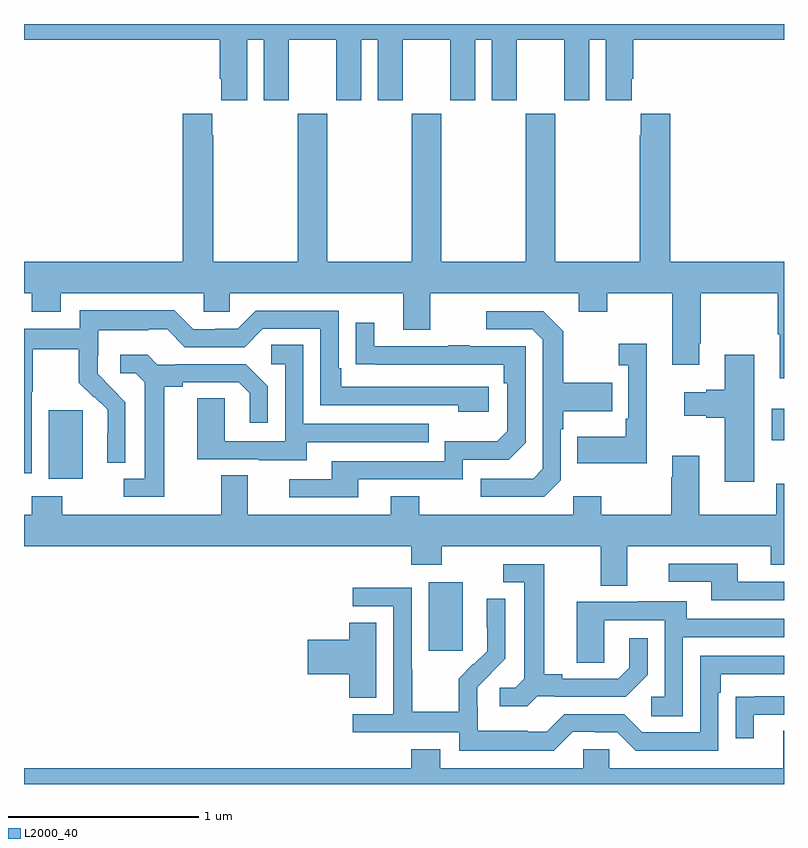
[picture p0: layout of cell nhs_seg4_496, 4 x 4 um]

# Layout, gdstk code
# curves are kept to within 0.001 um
import gdstk
lib = gdstk.Library(unit=1e-6, precision=1e-09)
def R(c, l, rs):  # rectangles x0, y0, x1, y1
    for r in rs: c.add(gdstk.rectangle(r[:2], r[2:], *l))
def P(c, l, *ps):  # polygons
    for p in ps: c.add(gdstk.Polygon(p, *l))
L2000_40 = (2000, 40)

nhs_seg4_496 = lib.new_cell('nhs_seg4_496')
R(nhs_seg4_496, L2000_40, [(137.129,797.601,137.308,797.962), (135.131,798.506,135.31,798.867), (138.936,798.71,139,798.874)])
P(nhs_seg4_496, L2000_40, [(136.174,800.816),(136.262,800.816),(136.262,800.499),(136.393,800.499),(136.393,800.816),(136.643,800.816),(136.643,800.499),(136.774,800.499),(136.774,800.816),(136.862,800.816),(136.862,800.499),(136.993,800.499),(136.993,800.816),(137.243,800.816),(137.243,800.499),(137.374,800.499),(137.374,800.816),(137.462,800.816),(137.462,800.499),(137.593,800.499),(137.593,800.816),(137.843,800.816),(137.843,800.499),(137.974,800.499),(137.974,800.816),(138.062,800.816),(138.062,800.499),(138.199,800.499),(138.199,800.611),(138.206,800.611),(138.206,800.816),(139,800.816),(139,800.9),(135,800.9),(135,800.816),(136.031,800.816),(136.031,800.611),(136.037,800.611),(136.037,800.499),(136.174,800.499)],
  [(136.441,800.428),(136.441,799.648),(135.996,799.648),(135.996,800.315),(135.991,800.315),(135.991,800.428),(135.836,800.428),(135.836,799.648),(135,799.648),(135,799.484),(135.041,799.484),(135.041,799.385),(135.193,799.385),(135.193,799.484),(135.945,799.484),(135.945,799.386),(136.083,799.386),(136.083,799.484),(136.997,799.484),(136.997,799.29),(137.137,799.29),(137.137,799.484),(137.921,799.484),(137.921,799.385),(138.069,799.385),(138.069,799.484),(138.413,799.484),(138.413,799.107),(138.553,799.107),(138.553,799.219),(138.561,799.219),(138.561,799.484),(138.967,799.484),(138.967,799.268),(138.977,799.268),(138.977,799.035),(139,799.035),(139,799.648),(138.401,799.648),(138.401,800.428),(138.245,800.428),(138.245,800.315),(138.241,800.315),(138.241,799.648),(137.796,799.648),(137.796,800.428),(137.641,800.428),(137.641,799.648),(137.196,799.648),(137.196,800.428),(137.041,800.428),(137.041,799.648),(136.596,799.648),(136.596,800.428)],
  [(135.042,798.964),(135.045,798.964),(135.045,799.188),(135.289,799.188),(135.289,799.013),(135.366,798.936),(135.369,798.939),(135.44,798.869),(135.44,798.746),(135.438,798.746),(135.438,798.592),(135.534,798.592),(135.534,798.91),(135.388,799.058),(135.388,799.155),(135.39,799.155),(135.39,799.289),(135.653,799.289),(135.653,799.293),(135.753,799.293),(135.846,799.2),(136.161,799.2),(136.257,799.296),(136.56,799.296),(136.56,798.894),(137.285,798.894),(137.285,798.86),(137.446,798.86),(137.446,798.99),(136.669,798.99),(136.669,799.087),(136.656,799.087),(136.656,799.392),(136.221,799.392),(136.125,799.296),(136.007,799.296),(136.007,799.293),(135.891,799.293),(135.791,799.393),(135.294,799.393),(135.294,799.296),(135,799.296),(135,798.535),(135.042,798.535)],
  [(137.826,798.498),(137.826,798.767),(137.839,798.767),(137.839,798.863),(138.095,798.863),(138.095,799.011),(137.839,799.011),(137.839,799.283),(137.733,799.389),(137.433,799.389),(137.433,799.293),(137.676,799.293),(137.73,799.239),(137.73,798.558),(137.679,798.507),(137.403,798.507),(137.403,798.411),(137.739,798.411)],
  [(136.759,798.504),(137.31,798.504),(137.31,798.606),(137.55,798.606),(137.64,798.696),(137.64,799.203),(137.345,799.203),(137.345,799.208),(137.233,799.208),(137.233,799.203),(136.843,799.203),(136.843,799.327),(136.747,799.327),(136.747,799.108),(137.524,799.107),(137.524,799.01),(137.544,799.01),(137.544,798.756),(137.491,798.703),(137.214,798.703),(137.214,798.6),(136.619,798.6),(136.619,798.504),(136.395,798.504),(136.395,798.408),(136.759,798.408)],
  [(138.278,799.216),(138.129,799.216),(138.129,799.103),(138.18,799.103),(138.18,798.823),(138.168,798.823),(138.168,798.727),(137.911,798.727),(137.911,798.587),(138.278,798.587)],
  [(136.489,798.699),(137.129,798.699),(137.129,798.795),(136.47,798.795),(136.47,799.211),(136.302,799.211),(136.302,799.11),(136.374,799.11),(136.374,798.705),(136.056,798.705),(136.056,798.929),(135.911,798.929),(135.911,798.609),(136.235,798.609),(136.235,798.605),(136.489,798.605)],
  [(138.844,799.159),(138.689,799.159),(138.689,798.974),(138.59,798.974),(138.59,798.961),(138.474,798.961),(138.474,798.839),(138.59,798.839),(138.59,798.827),(138.689,798.827),(138.689,798.492),(138.844,798.492)],
  [(135.739,798.992),(135.835,798.992),(135.835,799.014),(136.13,799.014),(136.187,798.957),(136.187,798.801),(136.284,798.801),(136.284,798.994),(136.168,799.11),(135.796,799.11),(135.796,799.107),(135.702,799.107),(135.65,799.159),(135.507,799.159),(135.507,799.062),(135.588,799.062),(135.635,799.015),(135.635,798.507),(135.525,798.507),(135.525,798.411),(135.739,798.411)],
  [(138.175,798.152),(138.929,798.152),(138.929,798.053),(139,798.053),(139,798.481),(138.959,798.481),(138.959,798.316),(138.553,798.316),(138.553,798.628),(138.413,798.628),(138.413,798.515),(138.406,798.515),(138.406,798.316),(138.039,798.316),(138.039,798.415),(137.892,798.415),(137.892,798.316),(137.079,798.316),(137.079,798.415),(136.931,798.415),(136.931,798.316),(136.177,798.316),(136.177,798.524),(136.037,798.524),(136.037,798.316),(135.201,798.316),(135.201,798.415),(135.041,798.415),(135.041,798.316),(135,798.316),(135,798.152),(137.039,798.152),(137.039,798.053),(137.199,798.053),(137.199,798.152),(138.035,798.152),(138.035,797.944),(138.175,797.944)],
  [(139,797.964),(138.757,797.964),(138.757,798.06),(138.393,798.06),(138.393,797.964),(138.617,797.964),(138.617,797.868),(139,797.868)],
  [(137.7,797.361),(137.794,797.361),(137.794,797.358),(138.166,797.358),(138.282,797.474),(138.282,797.668),(138.185,797.668),(138.185,797.511),(138.128,797.454),(137.833,797.454),(137.833,797.477),(137.737,797.477),(137.737,798.057),(137.523,798.057),(137.523,797.961),(137.633,797.961),(137.633,797.453),(137.586,797.406),(137.505,797.406),(137.505,797.309),(137.648,797.309)],
  [(137.889,797.175),(138.005,797.175),(138.005,797.172),(138.123,797.172),(138.219,797.076),(138.654,797.076),(138.654,797.381),(138.667,797.381),(138.667,797.478),(139,797.478),(139,797.574),(138.558,797.574),(138.558,797.172),(138.255,797.172),(138.159,797.268),(137.844,797.268),(137.751,797.175),(137.651,797.175),(137.651,797.179),(137.388,797.179),(137.388,797.313),(137.386,797.313),(137.386,797.41),(137.532,797.558),(137.532,797.876),(137.436,797.876),(137.436,797.722),(137.438,797.722),(137.438,797.6),(137.367,797.529),(137.364,797.532),(137.287,797.455),(137.287,797.281),(137.043,797.281),(137.043,797.504),(137.04,797.504),(137.04,797.934),(136.731,797.934),(136.731,797.835),(136.944,797.835),(136.944,797.268),(136.731,797.268),(136.731,797.172),(137.292,797.172),(137.292,797.075),(137.789,797.075)],
  [(138.468,797.673),(139,797.673),(139,797.769),(138.487,797.769),(138.487,797.863),(138.233,797.863),(138.233,797.859),(137.909,797.859),(137.909,797.539),(138.054,797.539),(138.054,797.763),(138.372,797.763),(138.372,797.358),(138.3,797.358),(138.3,797.257),(138.468,797.257)],
  [(136.855,797.75),(136.712,797.75),(136.712,797.66),(136.494,797.66),(136.494,797.477),(136.712,797.477),(136.712,797.353),(136.855,797.353)],
  [(138.841,797.265),(139,797.265),(139,797.361),(138.847,797.361),(138.847,797.36),(138.745,797.36),(138.745,797.142),(138.841,797.142)],
  [(139,797.179),(138.995,797.179),(138.995,796.984),(138.081,796.984),(138.081,797.082),(137.943,797.082),(137.943,796.984),(137.191,796.984),(137.191,797.083),(137.039,797.083),(137.039,796.984),(135,796.984),(135,796.9),(139,796.9)])

lib.write_gds('nhs_seg4_496.gds')
